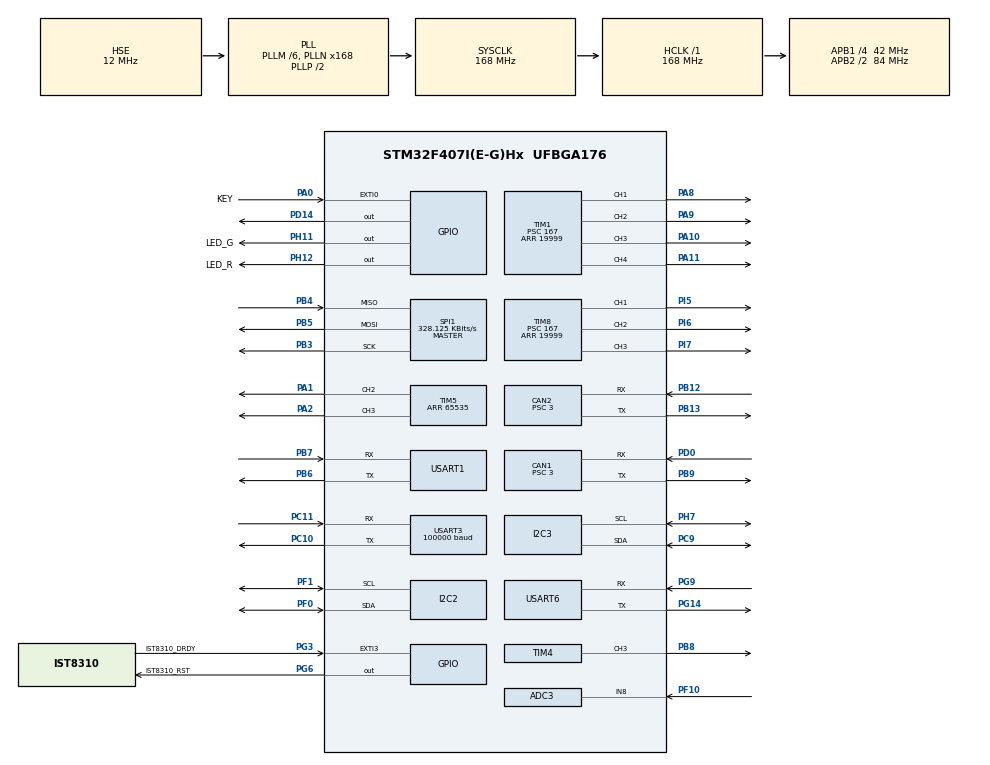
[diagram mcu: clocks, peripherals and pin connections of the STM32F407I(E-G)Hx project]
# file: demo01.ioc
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ADC1.Channel-0\#ChannelRegularConversion=ADC_CHANNEL_TEMPSENSOR
ADC1.NbrOfConversionFlag=1
ADC1.Rank-0\#ChannelRegularConversion=1
ADC1.SamplingTime-0\#ChannelRegularConversion=ADC_SAMPLETIME_3CYCLES
ADC1.master=1
ADC3.Channel-0\#ChannelRegularConversion=ADC_CHANNEL_8
ADC3.NbrOfConversionFlag=1
ADC3.Rank-0\#ChannelRegularConversion=1
ADC3.SamplingTime-0\#ChannelRegularConversion=ADC_SAMPLETIME_3CYCLES
CAN1.BS1=CAN_BS1_10TQ
CAN1.BS2=CAN_BS2_3TQ
CAN1.CalculateBaudRate=1000000
CAN1.CalculateTimeBit=1000
CAN1.CalculateTimeQuantum=71.42857142857143
CAN1.Prescaler=3
CAN2.BS1=CAN_BS1_10TQ
CAN2.BS2=CAN_BS2_3TQ
CAN2.CalculateBaudRate=1000000
CAN2.CalculateTimeBit=1000
CAN2.CalculateTimeQuantum=71.42857142857143
CAN2.Prescaler=3
Dma.Request0=USART1_TX
Dma.Request1=USART3_RX
Dma.Request2=SPI1_RX
Dma.Request3=SPI1_TX
Dma.SPI1_RX.2.Direction=DMA_PERIPH_TO_MEMORY
Dma.SPI1_RX.2.FIFOMode=DMA_FIFOMODE_DISABLE
Dma.SPI1_RX.2.Instance=DMA2_Stream0
Dma.SPI1_RX.2.MemDataAlignment=DMA_MDATAALIGN_BYTE
Dma.SPI1_RX.2.MemInc=DMA_MINC_ENABLE
Dma.SPI1_RX.2.Mode=DMA_NORMAL
Dma.SPI1_RX.2.PeriphDataAlignment=DMA_PDATAALIGN_BYTE
Dma.SPI1_RX.2.PeriphInc=DMA_PINC_DISABLE
Dma.SPI1_RX.2.Priority=DMA_PRIORITY_VERY_HIGH
Dma.SPI1_TX.3.Direction=DMA_MEMORY_TO_PERIPH
Dma.SPI1_TX.3.FIFOMode=DMA_FIFOMODE_DISABLE
Dma.SPI1_TX.3.Instance=DMA2_Stream3
Dma.SPI1_TX.3.MemDataAlignment=DMA_MDATAALIGN_BYTE
Dma.SPI1_TX.3.MemInc=DMA_MINC_ENABLE
Dma.SPI1_TX.3.Mode=DMA_NORMAL
Dma.SPI1_TX.3.PeriphDataAlignment=DMA_PDATAALIGN_BYTE
Dma.SPI1_TX.3.PeriphInc=DMA_PINC_DISABLE
Dma.SPI1_TX.3.Priority=DMA_PRIORITY_HIGH
Dma.USART1_TX.0.Direction=DMA_MEMORY_TO_PERIPH
Dma.USART1_TX.0.FIFOMode=DMA_FIFOMODE_DISABLE
Dma.USART1_TX.0.Instance=DMA2_Stream7
Dma.USART1_TX.0.MemDataAlignment=DMA_MDATAALIGN_BYTE
Dma.USART1_TX.0.MemInc=DMA_MINC_ENABLE
Dma.USART1_TX.0.Mode=DMA_NORMAL
Dma.USART1_TX.0.PeriphDataAlignment=DMA_PDATAALIGN_BYTE
Dma.USART1_TX.0.PeriphInc=DMA_PINC_DISABLE
Dma.USART1_TX.0.Priority=DMA_PRIORITY_VERY_HIGH
Dma.USART3_RX.1.Direction=DMA_PERIPH_TO_MEMORY
Dma.USART3_RX.1.FIFOMode=DMA_FIFOMODE_DISABLE
Dma.USART3_RX.1.Instance=DMA1_Stream1
Dma.USART3_RX.1.MemDataAlignment=DMA_MDATAALIGN_BYTE
Dma.USART3_RX.1.MemInc=DMA_MINC_ENABLE
Dma.USART3_RX.1.Mode=DMA_NORMAL
Dma.USART3_RX.1.PeriphDataAlignment=DMA_PDATAALIGN_BYTE
Dma.USART3_RX.1.PeriphInc=DMA_PINC_DISABLE
Dma.USART3_RX.1.Priority=DMA_PRIORITY_VERY_HIGH
FREERTOS.Tasks01=LED_RED,0,128,red_led_task,Default,NULL,Dynamic,NULL,NULL;LED_GREEN,-3,128,green_led_task,Default,NULL,Dynamic,NULL,NULL
I2C2.I2C_Mode=I2C_Fast
I2C3.I2C_Mode=I2C_Fast
Mcu.Family=STM32F4
Mcu.Name=STM32F407I(E-G)Hx
Mcu.Package=UFBGA176
NVIC.DMA1_Stream1_IRQn=true\:5\:0\:false\:false\:true\:true\:false\:true\:true
NVIC.DMA2_Stream0_IRQn=true\:5\:0\:false\:false\:true\:true\:false\:true\:true
NVIC.DMA2_Stream3_IRQn=true\:5\:0\:false\:false\:true\:true\:false\:true\:true
NVIC.DMA2_Stream7_IRQn=true\:5\:0\:false\:false\:true\:true\:false\:true\:true
NVIC.EXTI0_IRQn=true\:5\:0\:false\:false\:true\:true\:true\:true\:true
NVIC.PriorityGroup=NVIC_PRIORITYGROUP_4
NVIC.TIM1_UP_TIM10_IRQn=true\:5\:0\:false\:false\:true\:true\:true\:true\:true
NVIC.USART1_IRQn=true\:5\:0\:false\:false\:true\:true\:true\:true\:true
NVIC.USART6_IRQn=true\:5\:0\:false\:false\:true\:true\:true\:true\:true
PA0-WKUP.GPIO_Label=KEY
PA0-WKUP.GPIO_PuPd=GPIO_PULLUP
PA0-WKUP.Signal=GPXTI0
PA1.Signal=S_TIM5_CH2
PA10.Signal=S_TIM1_CH3
PA11.Signal=S_TIM1_CH4
PA13.Mode=Serial_Wire
PA13.Signal=SYS_JTMS-SWDIO
PA14.Mode=Serial_Wire
PA14.Signal=SYS_JTCK-SWCLK
PA2.Signal=S_TIM5_CH3
PA8.Signal=S_TIM1_CH1
PA9.Signal=S_TIM1_CH2
PB12.Mode=CAN_Activate
PB12.Signal=CAN2_RX
PB13.Mode=CAN_Activate
PB13.Signal=CAN2_TX
PB3.Mode=Full_Duplex_Master
PB3.Signal=SPI1_SCK
PB4.Mode=Full_Duplex_Master
PB4.Signal=SPI1_MISO
PB5.Mode=Full_Duplex_Master
PB5.Signal=SPI1_MOSI
PB6.Mode=Asynchronous
PB6.Signal=USART1_TX
PB7.Mode=Asynchronous
PB7.Signal=USART1_RX
PB8.Signal=S_TIM4_CH3
PB9.Mode=CAN_Activate
PB9.Signal=CAN1_TX
PC10.Mode=Asynchronous
PC10.Signal=USART3_TX
PC11.Mode=Asynchronous
PC11.Signal=USART3_RX
PC9.Mode=I2C
PC9.Signal=I2C3_SDA
PD0.Mode=CAN_Activate
PD0.Signal=CAN1_RX
PD14.Signal=GPIO_Output
PF0.Mode=I2C
PF0.Signal=I2C2_SDA
PF1.Mode=I2C
PF1.Signal=I2C2_SCL
PF10.Mode=IN8
PF10.Signal=ADC3_IN8
PG14.Mode=Asynchronous
PG14.Signal=USART6_TX
PG3.GPIO_Label=IST8310_DRDY
PG3.GPIO_PuPd=GPIO_PULLUP
PG3.Signal=GPXTI3
PG6.GPIO_Label=IST8310_RST
PG6.GPIO_PuPd=GPIO_PULLUP
PG6.GPIO_Speed=GPIO_SPEED_FREQ_MEDIUM
PG6.PinState=GPIO_PIN_SET
PG6.Signal=GPIO_Output
PG9.Mode=Asynchronous
PG9.Signal=USART6_RX
PH0-OSC_IN.Mode=HSE-External-Oscillator
PH0-OSC_IN.Signal=RCC_OSC_IN
PH1-OSC_OUT.Mode=HSE-External-Oscillator
PH1-OSC_OUT.Signal=RCC_OSC_OUT
PH11.GPIO_Label=LED_G
PH11.Signal=GPIO_Output
PH12.GPIO_Label=LED_R
PH12.Signal=GPIO_Output
PH7.Mode=I2C
PH7.Signal=I2C3_SCL
PI5.Signal=S_TIM8_CH1
PI6.Signal=S_TIM8_CH2
PI7.Signal=S_TIM8_CH3
ProjectManager.HeapSize=0x200
ProjectManager.StackSize=0x400
ProjectManager.TargetToolchain=MDK-ARM V5
RCC.48MHZClocksFreq_Value=84000000
RCC.AHBFreq_Value=168000000
RCC.APB1CLKDivider=RCC_HCLK_DIV4
RCC.APB1Freq_Value=42000000
RCC.APB1TimFreq_Value=84000000
RCC.APB2CLKDivider=RCC_HCLK_DIV2
RCC.APB2Freq_Value=84000000
RCC.APB2TimFreq_Value=168000000
RCC.CortexFreq_Value=168000000
RCC.HCLKFreq_Value=168000000
RCC.HSE_VALUE=12000000
RCC.HSI_VALUE=16000000
RCC.LSE_VALUE=32768
RCC.PLLM=6
RCC.PLLN=168
RCC.PLLSourceVirtual=RCC_PLLSOURCE_HSE
RCC.SYSCLKFreq_VALUE=168000000
RCC.SYSCLKSource=RCC_SYSCLKSOURCE_PLLCLK
RCC.VCOOutputFreq_Value=336000000
SH.S_TIM1_CH1.0=TIM1_CH1,PWM Generation1 CH1
SH.S_TIM1_CH2.0=TIM1_CH2,PWM Generation2 CH2
SH.S_TIM1_CH3.0=TIM1_CH3,PWM Generation3 CH3
SH.S_TIM1_CH4.0=TIM1_CH4,PWM Generation4 CH4
SH.S_TIM4_CH3.0=TIM4_CH3,PWM Generation3 CH3
SH.S_TIM5_CH2.0=TIM5_CH2,PWM Generation2 CH2
SH.S_TIM5_CH3.0=TIM5_CH3,PWM Generation3 CH3
SH.S_TIM8_CH1.0=TIM8_CH1,PWM Generation1 CH1
SH.S_TIM8_CH2.0=TIM8_CH2,PWM Generation2 CH2
SH.S_TIM8_CH3.0=TIM8_CH3,PWM Generation3 CH3
SPI1.BaudRatePrescaler=SPI_BAUDRATEPRESCALER_256
SPI1.CLKPhase=SPI_PHASE_2EDGE
SPI1.CalculateBaudRate=328.125 KBits/s
SPI1.Direction=SPI_DIRECTION_2LINES
SPI1.Mode=SPI_MODE_MASTER
SPI1.VirtualType=VM_MASTER
TIM1.Channel-PWM\ Generation1\ CH1=TIM_CHANNEL_1
TIM1.Channel-PWM\ Generation2\ CH2=TIM_CHANNEL_2
TIM1.Channel-PWM\ Generation3\ CH3=TIM_CHANNEL_3
TIM1.Channel-PWM\ Generation4\ CH4=TIM_CHANNEL_4
TIM1.Period=19999
TIM1.Prescaler=167
TIM1.Pulse-PWM\ Generation1\ CH1=2000
TIM1.Pulse-PWM\ Generation2\ CH2=2000
TIM1.Pulse-PWM\ Generation3\ CH3=2000
TIM1.Pulse-PWM\ Generation4\ CH4=2000
TIM4.Channel-PWM\ Generation3\ CH3=TIM_CHANNEL_3
TIM4.Period=20999
TIM5.Channel-PWM\ Generation2\ CH2=TIM_CHANNEL_2
TIM5.Channel-PWM\ Generation3\ CH3=TIM_CHANNEL_3
TIM5.Period=65535
TIM5.Pulse-PWM\ Generation2\ CH2=10000
TIM5.Pulse-PWM\ Generation3\ CH3=10000
TIM8.Channel-PWM\ Generation1\ CH1=TIM_CHANNEL_1
TIM8.Channel-PWM\ Generation2\ CH2=TIM_CHANNEL_2
TIM8.Channel-PWM\ Generation3\ CH3=TIM_CHANNEL_3
TIM8.Period=19999
TIM8.Prescaler=167
TIM8.Pulse-PWM\ Generation1\ CH1=2000
TIM8.Pulse-PWM\ Generation2\ CH2=2000
TIM8.Pulse-PWM\ Generation3\ CH3=2000
USART1.VirtualMode=VM_ASYNC
USART3.BaudRate=100000
USART3.VirtualMode=VM_ASYNC
USART6.VirtualMode=VM_ASYNC
VP_ADC1_TempSens_Input.Mode=IN-TempSens
VP_ADC1_Vref_Input.Mode=IN-Vrefint
VP_FREERTOS_VS_CMSIS_V1.Mode=CMSIS_V1
VP_TIM1_VS_ClockSourceINT.Mode=Internal
VP_TIM4_VS_ClockSourceINT.Mode=Internal
VP_TIM8_VS_ClockSourceINT.Mode=Internal
board=custom

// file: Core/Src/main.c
/* USER CODE BEGIN Header */
/**
  ******************************************************************************
  * @file           : main.c
  * @brief          : Main program body
  ******************************************************************************
  * @attention
  *
  * Copyright (c) 2025 STMicroelectronics.
  * All rights reserved.
  *
  * This software is licensed under terms that can be found in the LICENSE file
  * in the root directory of this software component.
  * If no LICENSE file comes with this software, it is provided AS-IS.
  *
  ******************************************************************************
  */
/* USER CODE END Header */
#include "main.h"
#include "cmsis_os.h"
#include "adc.h"
#include "can.h"
#include "dma.h"
#include "i2c.h"
#include "spi.h"
#include "tim.h"
#include "usart.h"
#include "gpio.h"

/* USER CODE BEGIN Includes */
#define MIN_BUZZER_PWM 10000
#define MAX_BUZZER_PWM 20000
#define MAX_PSC 1000
/* USER CODE END Includes */

/* USER CODE BEGIN PD */
   //user_delay_us
		  void user_delay_us(uint16_t us)
			{
				for(;us>0;us--)
				{
					for(uint8_t i=50;i>0;i--)
					{
						;
					}
				}
			}
   //user_delay_ms
			void user_delay_ms(uint16_t ms)
			{
				for(;ms>0;ms--)
				{
					user_delay_us(1000);
				}
			}
	//nop
				void nop_delay_us(uint16_t us)
				{
					for(;us>0;us--)
					{
						for(uint8_t i=10;i>0;i--)
						{
							_nop();
							_nop();
							_nop();
							_nop();
							_nop();
							_nop();
							_nop();
							_nop();
							_nop();
							_nop();
							_nop();
						}
					}
				}

				void nop_delay_ms(uint16_t ms)
				{
					for(;ms>0;ms--)
					{
						nop_delay_us(1000);
					}
				}
//HAL_Delay
 void HAL_Delay(uint32_t Delay);
//TIM1
void HAL_TIM_PeriodElapsedCallback(TIM_HandleTypeDef *htim);
void HAL_TIM_PeriodElapsedCallback(TIM_HallSensor_InitTypeDef*ttim)
{
	if(htim==&htim1)
	{
		bsp_led_toggle();
	}
}
//aRGB
void aRGB_led_show(uint32_t aRGB)
{
	static uint8_t alpha;
	static uint16_t red,green,blue;

	alpha=(aRGB & 0xFF000000)>>24;
	red=((aRGB & 0x00FF0000)>>16)*alpha;
	green=((aRGB & 0x0000FF00)>>8)*alpha;
	blue=((aRGB & 0x000000FF)>>0)*alpha;
	__HAL_TIM_SetCompare(&htim5,TIM_CHANNEL_1,blue);
	__HAL_TIM_SetCompare(&htim5,TIM_CHANNEL_2,green);
	__HAL_TIM_SetCompare(&htim5,TIM_CHANNEL_3,red);
}
//buzzer
void buzzer_on(uint16_t psc, uint16_t pwm);
//ADC
void init_vrefint_reciprocal(void)
{
	uint8_t i=0;
	uint32_t total_adc=0;
	for(i=0;i<200;i++)
	{
		total_adc+=adcx_get_chx_value(&hadc1,ADC_CHANNEL_VREFINT);
	}
	voltage_vrefint_proportion=200*1.2f/total_adc;
}

fp32 get_battery_voltage(void)
{
	fp32 voltage;
	uint16_t adcx=0;
	adcx=adcx_get_chx_value(&hadc3,ADC_CHANNEL_8);
	voltage=(fp32)adcx*voltage_vrefint_proportion* 10.090909090909090909090909090909f;
	return voltage;
}

fp32 get_temprate(void)
{
	uint16_t adcx=0;
	fp32 temperate;
	adcx = adcx_get_chx_value(&hadc1, ADC_CHANNEL_TEMPSENSOR);
	 temperate = (fp32)adcx * voltage_vrefint_proportion;
	temperate = (temperate - 0.76f) * 400.0f + 25.0f;
	return temperate;
}
//usart
void usart_printf(const char *fmt,...)
{
	static uint8_t tx_buf[256]={0};
	static va_list ap;
	static uint16_t len;
	va_start(ap,fmt);
	len=vsprintf((char*)tx_buf,fmt,ap);
	va_end(ap);
	usart1_tx_dma_enable(tx_buf,len);
}

void RC_init(uint8_t *rxl_buf,uint8_t*rx2_buf,uint16_t dma_buf_num)
{
	SET_BIT(huart3.Instance->CR3,USART_CR3_DMAR);
	__HAL_UART_ENABLE_IT(&huart3,UARI_IT_IDLE);
	__HAL_DMA_DISABLE(&hdma_usart3_rx);
    while(hdma_usart3_rx.Instance->CR & DMA_SxCR_EN)
    {
        __HAL_DMA_DISABLE(&hdma_usart3_rx);
    }
  hdma_usart3_rx.Instance->PAR = (uint32_t) & (USART3->DR);
	hdma_usart3_rx.Instance->M0AR = (uint32_t)(rx1_buf);
	hdma_usart3_rx.Instance->M1AR = (uint32_t)(rx2_buf);
	hdma_usart3_rx.Instance->NDTR = dma_buf_num;
	SET_BIT(hdma_usart3_rx.Instance->CR, DMA_SxCR_DBM);
	__HAL_DMA_ENABLE(&hdma_usart3_rx);

}

void USART3_IRQHandler(void)
{
    if(huart3.Instance->SR & UART_FLAG_RXNE)//?????
    {
        __HAL_UART_CLEAR_PEFLAG(&huart3);
    }
    else if(USART3->SR & UART_FLAG_IDLE)
    {
        static uint16_t this_time_rx_len = 0;

        __HAL_UART_CLEAR_PEFLAG(&huart3);

        if ((hdma_usart3_rx.Instance->CR & DMA_SxCR_CT) == RESET)
        {
            /* Current memory buffer used is Memory 0 */

            //disable DMA
            //??DMA
            __HAL_DMA_DISABLE(&hdma_usart3_rx);
					 //????????,?? = ???? - ????
            this_time_rx_len = SBUS_RX_BUF_NUM - hdma_usart3_rx.Instance->NDTR;

            //reset set_data_lenght
            //????????
            hdma_usart3_rx.Instance->NDTR = SBUS_RX_BUF_NUM;

            //set memory buffer 0
            //?????0
            DMA1_Stream1->CR &= ~(DMA_SxCR_CT);

            //enable DMA
            //??DMA
            __HAL_DMA_ENABLE(&hdma_usart3_rx);

            if(this_time_rx_len == RC_FRAME_LENGTH)
            {
                //???????
                sbus_to_rc(sbus_rx_buf[1], &rc_ctrl);
            }
        }
    }
}

static void sbus_to_rc(volatile const uint8_t *sbus_buf, RC_ctrl_t *rc_ctrl)
{
    if (sbus_buf == NULL || rc_ctrl == NULL)
    {
        return;
    }

    rc_ctrl->rc.ch[0] = (sbus_buf[0] | (sbus_buf[1] << 8)) & 0x07ff;         //!< Channel 0
    rc_ctrl->rc.ch[1] = ((sbus_buf[1] >> 3) | (sbus_buf[2] << 5)) & 0x07ff;  //!< Channel 1
    rc_ctrl->rc.ch[2] = ((sbus_buf[2] >> 6) | (sbus_buf[3] << 2) |           //!< Channel 2
                         (sbus_buf[4] << 10)) &0x07ff;
    rc_ctrl->rc.ch[3] = ((sbus_buf[4] >> 1) | (sbus_buf[5] << 7)) & 0x07ff;  //!< Channel 3
    rc_ctrl->rc.s[0] = ((sbus_buf[5] >> 4) & 0x0003);                   //!< Switch left
    rc_ctrl->rc.s[1] = ((sbus_buf[5] >> 4) & 0x000C) >> 2;                 //!< Switch right
    rc_ctrl->mouse.x = sbus_buf[6] | (sbus_buf[7] << 8);                   //!< Mouse X axis
    rc_ctrl->mouse.y = sbus_buf[8] | (sbus_buf[9] << 8);                   //!< Mouse Y axis
    rc_ctrl->mouse.z = sbus_buf[10] | (sbus_buf[11] << 8);                 //!< Mouse Z axis
    rc_ctrl->mouse.press_l = sbus_buf[12];                              //!< Mouse Left Is Press ?
    rc_ctrl->mouse.press_r = sbus_buf[13];                              //!< Mouse Right Is Press ?
    rc_ctrl->key.v = sbus_buf[14] | (sbus_buf[15] << 8);                   //!< KeyBoard value
    rc_ctrl->rc.ch[4] = sbus_buf[16] | (sbus_buf[17] << 8);                  //NULL

    rc_ctrl->rc.ch[0] -= RC_CH_VALUE_OFFSET;
    rc_ctrl->rc.ch[1] -= RC_CH_VALUE_OFFSET;
    rc_ctrl->rc.ch[2] -= RC_CH_VALUE_OFFSET;
    rc_ctrl->rc.ch[3] -= RC_CH_VALUE_OFFSET;
    rc_ctrl->rc.ch[4] -= RC_CH_VALUE_OFFSET;
}
//ist8310
void ist8310_red_over(uint8_t *status_buf,ist8310_real_data_t*ist8310_real_data)
{
	if(status_buf[0]&0x01)
	{
		int16_t temp_ist8310_data=0;
		ist8310_real_data->status |=1<<IST8310_DATA_READY_BIT;
		temp_ist8310_data=(int16_t)((status_buf[2]<<8)|status_buf[1]);
		ist8310_real_data->mag[0]=MAG_SEN*temp_ist8310_data;
		temp_ist8310_data=(int16_t)((status_buf[4]<<8)|status_buf[3]);
		ist8310_real_data->mag[1]=MAG_SEN*temp_ist8310_data;
		temp_ist8310_data=(int16_t)((status_buf[6]<<8)|status_buf[5]);
		ist8310_real_data->mag[2]=MAG_SEN*temp_ist8310_data;
	}
	else
{
	ist8310_real_data->status&=~(1<<IST8310_DATA_READY_BIT);
}
}

void ist8310_read_mag(fp32 mag[3])
{
	uint8_t buf[6];
	int16_t temp_ist8310_data=0;
	ist8310_IIC_read_muli_reg(0x03,buf,6);

	temp_ist8310_data=(int16_t)((buf[1]<<8)|buf[0]);
	mag[0]=MAG_SEN*temp_ist8310_data;
	temp_ist8310_data=(int16_t)((buf[3]<<8)|buf[2]);
	mag[1]=MAG_SEN*temp_ist8310_data;
	temp_ist8310_data=(int16_t)((buf[5]<<8)|buf[4]);
	mag[2]=MAG_SEN*temp_ist8310_data;
}
/* USER CODE END PD */

void SystemClock_Config(void);
void MX_FREERTOS_Init(void);

int main(void)
{

  /* MCU Configuration--------------------------------------------------------*/

  /* Reset of all peripherals, Initializes the Flash interface and the Systick. */
  HAL_Init();

  /* Configure the system clock */
  SystemClock_Config();

  /* Initialize all configured peripherals */
  MX_GPIO_Init();
  MX_DMA_Init();
  MX_TIM1_Init();
  MX_TIM5_Init();
  MX_TIM4_Init();
  MX_TIM8_Init();
  MX_ADC1_Init();
  MX_ADC3_Init();
  MX_USART1_UART_Init();
  MX_USART3_UART_Init();
  MX_USART6_UART_Init();
  MX_I2C3_Init();
  MX_I2C2_Init();
  MX_SPI1_Init();
  MX_CAN1_Init();
  MX_CAN2_Init();
  /* USER CODE BEGIN 2 */
	uint16_t pwm;
	uint16_t psc;

  /* USER CODE END 2 */

  /* Call init function for freertos objects (in cmsis_os2.c) */
  MX_FREERTOS_Init();

  /* Start scheduler */
  osKernelStart();

  /* We should never get here as control is now taken by the scheduler */

  /* Infinite loop */
  /* USER CODE BEGIN WHILE */
  while (1)
  {
		//LEDdemo
		 HAL_GPIO_WritePin(LED_R_GPIO_Port,LED_R_Pin,GPIO_PIN_SET);
		 HAL_GPIO_WritePin(LED_G_GPIO_Port,LED_G_Pin,GPIO_PIN_SET);
		 HAL_GPIO_WritePin(LED_B_GPIO_Port,LED_B_Pin,GPIO_PIN_SET);
		//LED_TogglePin
		 HAL_GPIO_TogglePin(LED_R_GPIO_Port,LED_R_Pin);
		//turn
		 bsp_led_toggle();
		 nop_delay_ms(500);
		 bsp_led_toggle();
	   user_delay_ms(500);
		 bsp_led_toggle();
		 HAL_Delay(500);
		//buzzer
		pwm++;
		if(pwm>MAX_BUZZER_PWM)
		{
      pwm=MIN_BUZZER_PWM;
		}
		if(psc>MAX_PSC)
		{
			psc=0;
		}
		buzzer_on(psc,pwm);
		HAL_Delay(1);
    /* USER CODE END WHILE */

  }
}

void SystemClock_Config(void)
{
  RCC_OscInitTypeDef RCC_OscInitStruct = {0};
  RCC_ClkInitTypeDef RCC_ClkInitStruct = {0};

  /** Configure the main internal regulator output voltage
  */
  __HAL_RCC_PWR_CLK_ENABLE();
  __HAL_PWR_VOLTAGESCALING_CONFIG(PWR_REGULATOR_VOLTAGE_SCALE1);

  /** Initializes the RCC Oscillators according to the specified parameters
  * in the RCC_OscInitTypeDef structure.
  */
  RCC_OscInitStruct.OscillatorType = RCC_OSCILLATORTYPE_HSE;
  RCC_OscInitStruct.HSEState = RCC_HSE_ON;
  RCC_OscInitStruct.PLL.PLLState = RCC_PLL_ON;
  RCC_OscInitStruct.PLL.PLLSource = RCC_PLLSOURCE_HSE;
  RCC_OscInitStruct.PLL.PLLM = 6;
  RCC_OscInitStruct.PLL.PLLN = 168;
  RCC_OscInitStruct.PLL.PLLP = RCC_PLLP_DIV2;
  RCC_OscInitStruct.PLL.PLLQ = 4;
  if (HAL_RCC_OscConfig(&RCC_OscInitStruct) != HAL_OK)
  {
    Error_Handler();
  }

  /** Initializes the CPU, AHB and APB buses clocks
  */
  RCC_ClkInitStruct.ClockType = RCC_CLOCKTYPE_HCLK|RCC_CLOCKTYPE_SYSCLK
                              |RCC_CLOCKTYPE_PCLK1|RCC_CLOCKTYPE_PCLK2;
  RCC_ClkInitStruct.SYSCLKSource = RCC_SYSCLKSOURCE_PLLCLK;
  RCC_ClkInitStruct.AHBCLKDivider = RCC_SYSCLK_DIV1;
  RCC_ClkInitStruct.APB1CLKDivider = RCC_HCLK_DIV4;
  RCC_ClkInitStruct.APB2CLKDivider = RCC_HCLK_DIV2;

  if (HAL_RCC_ClockConfig(&RCC_ClkInitStruct, FLASH_LATENCY_5) != HAL_OK)
  {
    Error_Handler();
  }
}

void Error_Handler(void)
{
  __disable_irq();
  while (1)
  {
  }
}

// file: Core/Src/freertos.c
/* USER CODE BEGIN Header */
/**
  ******************************************************************************
  * File Name          : freertos.c
  * Description        : Code for freertos applications
  ******************************************************************************
  * @attention
  *
  * Copyright (c) 2025 STMicroelectronics.
  * All rights reserved.
  *
  * This software is licensed under terms that can be found in the LICENSE file
  * in the root directory of this software component.
  * If no LICENSE file comes with this software, it is provided AS-IS.
  *
  ******************************************************************************
  */
/* USER CODE END Header */

#include "FreeRTOS.h"
#include "task.h"
#include "main.h"
#include "cmsis_os.h"

osThreadId LED_REDHandle;
osThreadId LED_GREENHandle;

void red_led_task(void const * argument);
void green_led_task(void const * argument);

void MX_FREERTOS_Init(void); /* (MISRA C 2004 rule 8.1) */

/* GetIdleTaskMemory prototype (linked to static allocation support) */
void vApplicationGetIdleTaskMemory( StaticTask_t **ppxIdleTaskTCBBuffer, StackType_t **ppxIdleTaskStackBuffer, uint32_t *pulIdleTaskStackSize );

/* USER CODE BEGIN GET_IDLE_TASK_MEMORY */
static StaticTask_t xIdleTaskTCBBuffer;
static StackType_t xIdleStack[configMINIMAL_STACK_SIZE];

void vApplicationGetIdleTaskMemory( StaticTask_t **ppxIdleTaskTCBBuffer, StackType_t **ppxIdleTaskStackBuffer, uint32_t *pulIdleTaskStackSize )
{
  *ppxIdleTaskTCBBuffer = &xIdleTaskTCBBuffer;
  *ppxIdleTaskStackBuffer = &xIdleStack[0];
  *pulIdleTaskStackSize = configMINIMAL_STACK_SIZE;
  /* place for user code */
}
/* USER CODE END GET_IDLE_TASK_MEMORY */

void MX_FREERTOS_Init(void) {

  /* Create the thread(s) */
  /* definition and creation of LED_RED */
  osThreadDef(LED_RED, red_led_task, osPriorityNormal, 0, 128);
  LED_REDHandle = osThreadCreate(osThread(LED_RED), NULL);

  /* definition and creation of LED_GREEN */
  osThreadDef(LED_GREEN, green_led_task, osPriorityIdle, 0, 128);
  LED_GREENHandle = osThreadCreate(osThread(LED_GREEN), NULL);

}

void red_led_task(void const * argument)
{
  for(;;)
  {
    osDelay(1);
  }
}

void green_led_task(void const * argument)
{
  for(;;)
  {
    osDelay(1);
  }
}
